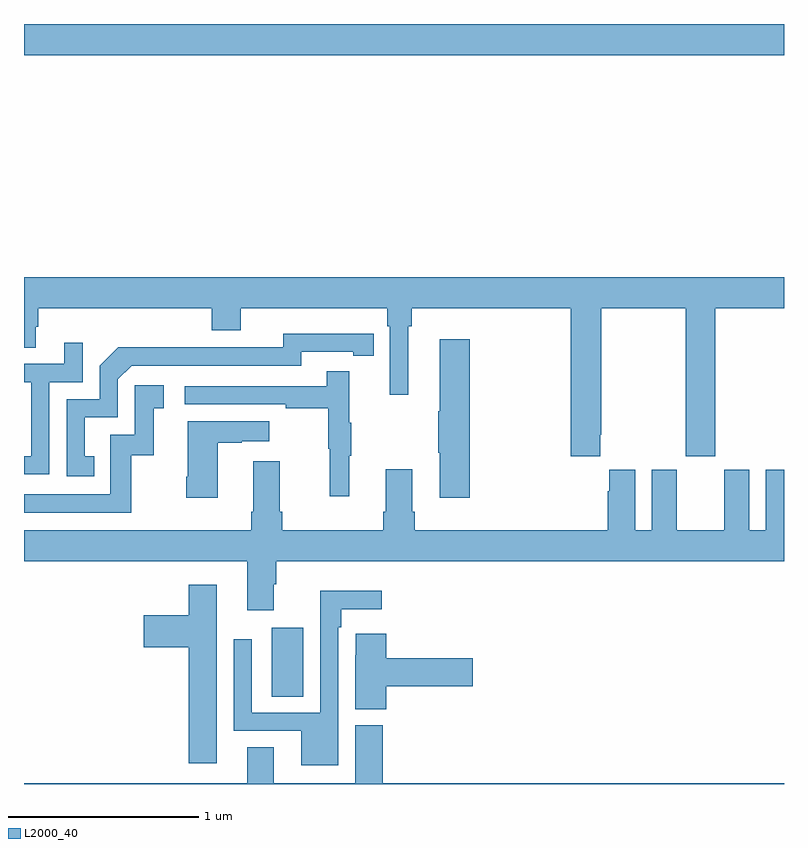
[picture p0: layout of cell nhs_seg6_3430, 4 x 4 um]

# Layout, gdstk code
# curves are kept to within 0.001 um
import gdstk
lib = gdstk.Library(unit=1e-6, precision=1e-09)
def R(c, l, rs):  # rectangles x0, y0, x1, y1
    for r in rs: c.add(gdstk.rectangle(r[:2], r[2:], *l))
def P(c, l, *ps):  # polygons
    for p in ps: c.add(gdstk.Polygon(p, *l))
L2000_40 = (2000, 40)

nhs_seg6_3430 = lib.new_cell('nhs_seg6_3430')
R(nhs_seg6_3430, L2000_40, [(314.303,943.96,314.47,944.323), (313,947.336,317,947.5)])
P(nhs_seg6_3430, L2000_40, [(316.033,945.337),(316.038,945.337),(316.038,946.004),(316.483,946.004),(316.483,945.225),(316.638,945.225),(316.638,946.004),(317,946.004),(317,946.168),(313,946.168),(313,945.796),(313.063,945.796),(313.063,945.906),(313.076,945.906),(313.076,946.004),(313.988,946.004),(313.988,945.887),(314.14,945.887),(314.14,946.004),(314.912,946.004),(314.912,945.908),(314.925,945.908),(314.925,945.549),(315.022,945.549),(315.022,945.908),(315.041,945.908),(315.041,946.004),(315.878,946.004),(315.878,945.225),(316.033,945.225)],
  [(313.37,945.225),(313.321,945.225),(313.321,945.429),(313.494,945.429),(313.494,945.63),(313.566,945.702),(314.46,945.702),(314.46,945.774),(314.732,945.774),(314.732,945.754),(314.84,945.754),(314.84,945.87),(314.364,945.871),(314.364,945.798),(313.904,945.798),(313.904,945.8),(313.496,945.8),(313.398,945.702),(313.398,945.525),(313.224,945.525),(313.224,945.12),(313.37,945.12)],
  [(315.347,945.841),(315.188,945.841),(315.188,945.461),(315.181,945.461),(315.181,945.244),(315.188,945.244),(315.188,945.006),(315.347,945.006)],
  [(313.134,945.615),(313.308,945.615),(313.308,945.823),(313.211,945.823),(313.211,945.711),(313,945.711),(313,945.615),(313.038,945.615),(313.038,945.226),(313,945.226),(313,945.129),(313.134,945.129)],
  [(314.711,945.227),(314.722,945.227),(314.722,945.401),(314.711,945.401),(314.711,945.673),(314.593,945.673),(314.593,945.594),(313.845,945.594),(313.845,945.498),(314.377,945.498),(314.377,945.478),(314.601,945.478),(314.601,945.264),(314.608,945.264),(314.608,945.015),(314.711,945.015)],
  [(313.564,945.231),(313.682,945.231),(313.682,945.477),(313.735,945.477),(313.735,945.598),(313.584,945.598),(313.584,945.339),(313.455,945.339),(313.455,945.024),(313,945.024),(313,944.928),(313.564,944.928)],
  [(314.02,945.295),(314.147,945.295),(314.147,945.305),(314.29,945.305),(314.29,945.409),(313.862,945.409),(313.862,945.118),(313.855,945.118),(313.855,945.006),(314.02,945.006)],
  [(314.207,944.932),(314.195,944.932),(314.195,944.836),(313,944.836),(313,944.672),(314.174,944.672),(314.174,944.415),(314.314,944.415),(314.314,944.552),(314.327,944.552),(314.327,944.672),(317,944.672),(317,945.154),(316.904,945.154),(316.904,944.836),(316.816,944.836),(316.816,945.154),(316.685,945.154),(316.685,944.836),(316.435,944.836),(316.435,945.154),(316.304,945.154),(316.304,944.836),(316.216,944.836),(316.216,945.154),(316.079,945.154),(316.079,945.041),(316.073,945.041),(316.073,944.836),(315.056,944.836),(315.056,944.932),(315.043,944.932),(315.043,945.157),(314.903,945.157),(314.903,944.932),(314.891,944.932),(314.891,944.836),(314.36,944.836),(314.36,944.932),(314.347,944.932),(314.347,945.199),(314.207,945.199)],
  [(314.014,944.548),(313.868,944.548),(313.868,944.389),(313.629,944.389),(313.629,944.219),(313.868,944.219),(313.868,943.608),(314.014,943.608)],
  [(314.655,944.324),(314.671,944.324),(314.671,944.42),(314.884,944.42),(314.884,944.518),(314.559,944.518),(314.559,943.875),(314.199,943.875),(314.199,944.263),(314.103,944.263),(314.103,943.779),(314.459,943.779),(314.459,943.598),(314.655,943.598)],
  [(314.906,944.015),(315.361,944.015),(315.361,944.162),(314.906,944.162),(314.906,944.29),(314.745,944.29),(314.745,944.177),(314.744,944.177),(314.744,943.894),(314.906,943.894)],
  [(317,943.504),(314.888,943.504),(314.888,943.809),(314.744,943.809),(314.744,943.504),(314.314,943.504),(314.314,943.694),(314.174,943.694),(314.174,943.504),(313,943.504),(313,943.5),(317,943.5)])

lib.write_gds('nhs_seg6_3430.gds')
